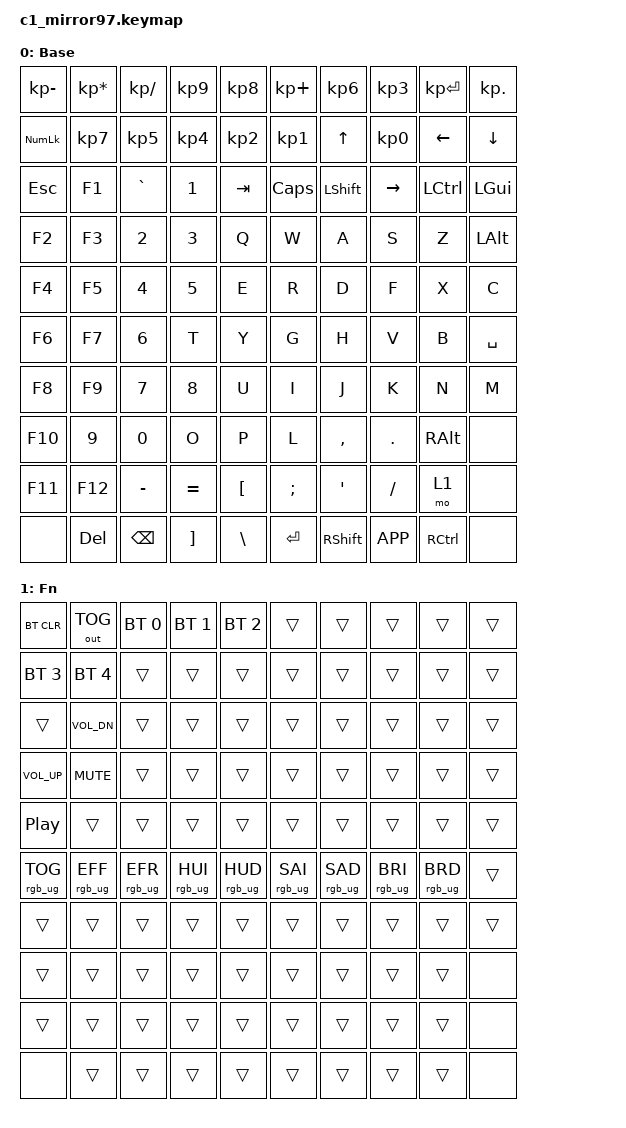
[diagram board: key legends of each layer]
/*
 * C1 Mirror97 RGB · 97 键 keymap
 * 顺序 = 10x10 逻辑矩阵 row-major（与 overlay 的 default_transform 严格一致）
 * 3 个空位 (7,9)(8,9)(9,9) 与「预留」键位为 &none
 * 数字区在左且真镜像：Enter / + 竖装最左列，数字读序 3 2 1，NumLock 右上
 *
 * Fn 层新增 RGB 控制（&rgb_ug）：开关 / 亮度 / 色相 / 饱和度 / 效果
 *   放在原 Fn 层右侧空白区，不占用原有 BT/OUT/音量键位。
 */
#include <behaviors.dtsi>
#include <dt-bindings/zmk/keys.h>
#include <dt-bindings/zmk/bt.h>
#include <dt-bindings/zmk/outputs.h>
#include <dt-bindings/zmk/rgb.h>

/ {
    keymap {
        compatible = "zmk,keymap";

        default_layer {
            display-name = "Base";
            bindings = <
            &kp KP_MINUS        &kp KP_ASTERISK     &kp KP_DIVIDE       &kp KP_N9           &kp KP_N8           &kp KP_PLUS         &kp KP_N6           &kp KP_N3           &kp KP_ENTER        &kp KP_DOT   // R0: - * / 9 8 + 6 3 KP_Enter .
            &kp KP_NLCK         &kp KP_N7           &kp KP_N5           &kp KP_N4           &kp KP_N2           &kp KP_N1           &kp UP              &kp KP_N0           &kp LEFT            &kp DOWN   // R1: NumLock 7 5 4 2 1 Up 0 Left Down
            &kp ESC             &kp F1              &kp GRAVE           &kp N1              &kp TAB             &kp CAPS            &kp LSHIFT          &kp RIGHT           &kp LCTRL           &kp LGUI   // R2: Esc F1 ` 1 Tab Caps LShift Right LCtrl Win
            &kp F2              &kp F3              &kp N2              &kp N3              &kp Q               &kp W               &kp A               &kp S               &kp Z               &kp LALT   // R3: F2 F3 2 3 Q W A S Z LAlt
            &kp F4              &kp F5              &kp N4              &kp N5              &kp E               &kp R               &kp D               &kp F               &kp X               &kp C   // R4: F4 F5 4 5 E R D F X C
            &kp F6              &kp F7              &kp N6              &kp T               &kp Y               &kp G               &kp H               &kp V               &kp B               &kp SPACE   // R5: F6 F7 6 T Y G H V B Space
            &kp F8              &kp F9              &kp N7              &kp N8              &kp U               &kp I               &kp J               &kp K               &kp N               &kp M   // R6: F8 F9 7 8 U I J K N M
            &kp F10             &kp N9              &kp N0              &kp O               &kp P               &kp L               &kp COMMA           &kp DOT             &kp RALT            &none   // R7: F10 9 0 O P L , . RAlt —
            &kp F11             &kp F12             &kp MINUS           &kp EQUAL           &kp LBKT            &kp SEMI            &kp SQT             &kp SLASH           &mo 1               &none   // R8: F11 F12 - = [ ; ' / Fn —
            &none               &kp DEL             &kp BSPC            &kp RBKT            &kp BSLH            &kp RET             &kp RSHIFT          &kp K_APP           &kp RCTRL           &none   // R9: 预留 Del Backspace ] \ Enter RShift Menu RCtrl —
            >;
        };

        fn_layer {
            display-name = "Fn";
            bindings = <
            &bt BT_CLR          &out OUT_TOG        &bt BT_SEL 0        &bt BT_SEL 1        &bt BT_SEL 2        &trans              &trans              &trans              &trans              &trans   // R0: BT_CLR / OUT_TOG / BT 0-2
            &bt BT_SEL 3        &bt BT_SEL 4        &trans              &trans              &trans              &trans              &trans              &trans              &trans              &trans   // R1: BT 3-4
            &trans              &kp C_VOL_DN        &trans              &trans              &trans              &trans              &trans              &trans              &trans              &trans   // R2: 音量减
            &kp C_VOL_UP        &kp C_MUTE          &trans              &trans              &trans              &trans              &trans              &trans              &trans              &trans   // R3: 音量加/静音
            &kp C_PLAY_PAUSE    &trans              &trans              &trans              &trans              &trans              &trans              &trans              &trans              &trans   // R4: 播放/暂停
            &rgb_ug RGB_TOG     &rgb_ug RGB_EFF     &rgb_ug RGB_EFR     &rgb_ug RGB_HUI     &rgb_ug RGB_HUD     &rgb_ug RGB_SAI     &rgb_ug RGB_SAD     &rgb_ug RGB_BRI     &rgb_ug RGB_BRD     &trans   // R5: RGB 开关/效果±/色相±/饱和±/亮度±
            &trans              &trans              &trans              &trans              &trans              &trans              &trans              &trans              &trans              &trans   // R6
            &trans              &trans              &trans              &trans              &trans              &trans              &trans              &trans              &trans              &none   // R7
            &trans              &trans              &trans              &trans              &trans              &trans              &trans              &trans              &trans              &none   // R8
            &none               &trans              &trans              &trans              &trans              &trans              &trans              &trans              &trans              &none   // R9
            >;
        };
    };
};
